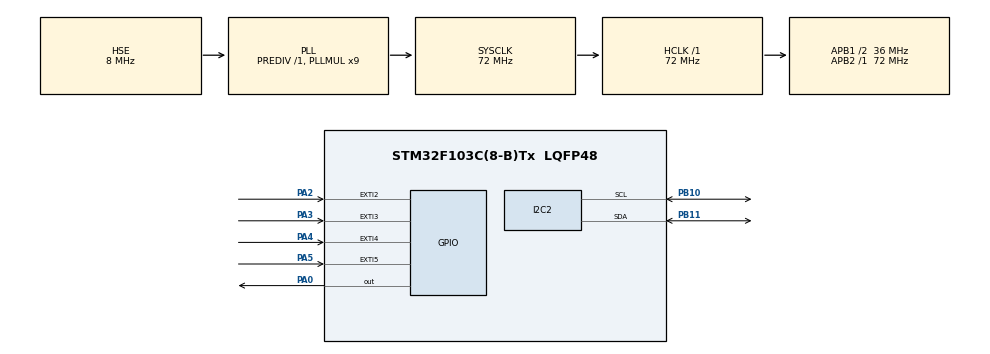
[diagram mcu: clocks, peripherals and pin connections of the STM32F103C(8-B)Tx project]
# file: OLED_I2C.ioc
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I2C2.I2C_Mode=I2C_Fast
Mcu.Family=STM32F1
Mcu.Name=STM32F103C(8-B)Tx
Mcu.Package=LQFP48
NVIC.EXTI2_IRQn=true\:2\:0\:true\:false\:true\:true\:true\:true
NVIC.EXTI3_IRQn=true\:2\:0\:true\:false\:true\:true\:true\:true
NVIC.EXTI4_IRQn=true\:2\:0\:true\:false\:true\:true\:true\:true
NVIC.EXTI9_5_IRQn=true\:2\:0\:true\:false\:true\:true\:true\:true
NVIC.PriorityGroup=NVIC_PRIORITYGROUP_4
NVIC.TIM3_IRQn=true\:3\:0\:true\:false\:true\:true\:true\:true
PA0-WKUP.GPIO_Speed=GPIO_SPEED_FREQ_LOW
PA0-WKUP.PinState=GPIO_PIN_SET
PA0-WKUP.Signal=GPIO_Output
PA13.Mode=Serial_Wire
PA13.Signal=SYS_JTMS-SWDIO
PA14.Mode=Serial_Wire
PA14.Signal=SYS_JTCK-SWCLK
PA2.GPIO_ModeDefaultEXTI=GPIO_MODE_IT_FALLING
PA2.GPIO_PuPd=GPIO_PULLUP
PA2.Signal=GPXTI2
PA3.GPIO_ModeDefaultEXTI=GPIO_MODE_IT_FALLING
PA3.GPIO_PuPd=GPIO_PULLUP
PA3.Signal=GPXTI3
PA4.GPIO_ModeDefaultEXTI=GPIO_MODE_IT_FALLING
PA4.GPIO_PuPd=GPIO_PULLUP
PA4.Signal=GPXTI4
PA5.GPIO_ModeDefaultEXTI=GPIO_MODE_IT_FALLING
PA5.GPIO_PuPd=GPIO_PULLUP
PA5.Signal=GPXTI5
PB10.Mode=I2C
PB10.Signal=I2C2_SCL
PB11.Mode=I2C
PB11.Signal=I2C2_SDA
PD0-OSC_IN.Mode=HSE-External-Oscillator
PD0-OSC_IN.Signal=RCC_OSC_IN
PD1-OSC_OUT.Mode=HSE-External-Oscillator
PD1-OSC_OUT.Signal=RCC_OSC_OUT
ProjectManager.HeapSize=0x200
ProjectManager.StackSize=0x400
ProjectManager.TargetToolchain=MDK-ARM V5.27
RCC.AHBFreq_Value=72000000
RCC.APB1CLKDivider=RCC_HCLK_DIV2
RCC.APB1Freq_Value=36000000
RCC.APB1TimFreq_Value=72000000
RCC.APB2Freq_Value=72000000
RCC.APB2TimFreq_Value=72000000
RCC.HCLKFreq_Value=72000000
RCC.PLLMUL=RCC_PLL_MUL9
RCC.PLLSourceVirtual=RCC_PLLSOURCE_HSE
RCC.SYSCLKFreq_VALUE=72000000
RCC.SYSCLKSource=RCC_SYSCLKSOURCE_PLLCLK
RCC.USBFreq_Value=72000000
TIM3.Period=2499
TIM3.Prescaler=7199
VP_TIM3_VS_ClockSourceINT.Mode=Internal
board=custom

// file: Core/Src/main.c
/* USER CODE BEGIN Header */
/**
  ******************************************************************************
  * @file           : main.c
  * @brief          : Main program body
  ******************************************************************************
  * @attention
  *
  * <h2><center>&copy; Copyright (c) 2022 STMicroelectronics.
  * All rights reserved.</center></h2>
  *
  * This software component is licensed by ST under BSD 3-Clause license,
  * the "License"; You may not use this file except in compliance with the
  * License. You may obtain a copy of the License at:
  *                        opensource.org/licenses/BSD-3-Clause
  *
  ******************************************************************************
  */
/* USER CODE END Header */
#include "main.h"
#include "i2c.h"
#include "tim.h"
#include "gpio.h"
#include "snake.h"
#include "ssd1306.h"

void SystemClock_Config(void);

/* USER CODE BEGIN 0 */
int timer_flag;
GameState game_state;
Snake snake;

void HAL_TIM_PeriodElapsedCallback(TIM_HandleTypeDef *htim){
	if(htim->Instance == TIM3){
		timer_flag = 1;
	}
}
void HAL_GPIO_EXTI_Callback(uint16_t GPIO_Pin){
	//len
				if((snake.direction != DOWN) && (GPIO_Pin = GPIO_PIN_1))
				{
						snake.direction = UP;
				}
	//xuong
				if((snake.direction != UP) && (GPIO_Pin = GPIO_PIN_1))
				{
						snake.direction = DOWN;
				}
	//trai
				if((snake.direction != RIGHT) && (GPIO_Pin = GPIO_PIN_1))
				{
						snake.direction = LEFT;
				}
	//phai
				if((snake.direction != LEFT) && (GPIO_Pin = GPIO_PIN_1))
				{
						snake.direction = RIGHT;
				}
}
/* USER CODE END 0 */

int main(void)
{

  /* MCU Configuration--------------------------------------------------------*/

  /* Reset of all peripherals, Initializes the Flash interface and the Systick. */
  HAL_Init();

  /* Configure the system clock */
  SystemClock_Config();

  /* Initialize all configured peripherals */
  MX_GPIO_Init();
  MX_I2C2_Init();
  MX_TIM3_Init();
  /* USER CODE BEGIN 2 */
	game_state = INGAME;
	ssd1306_I2C_Init();
	SSD1306_DrawFilledCircle(20, 20, 3, SSD1306_COLOR_WHITE);
	SSD1306_UpdateScreen();
  /* USER CODE END 2 */

  /* Infinite loop */
  while (1)
  {

    /* USER CODE BEGIN 3 */
		switch (game_state)
		{
			case INFORMATION:
				information();
				break;
			case INGAME:
					game_init();
					break;
			case SETTING:
					setting();
					break;
			case GAMEOVER:
					gameover();
					break;
			case MENU:
					menu();
					break;
    }
  }
  /* USER CODE END 3 */
}

void SystemClock_Config(void)
{
  RCC_OscInitTypeDef RCC_OscInitStruct = {0};
  RCC_ClkInitTypeDef RCC_ClkInitStruct = {0};

  /** Initializes the RCC Oscillators according to the specified parameters
  * in the RCC_OscInitTypeDef structure.
  */
  RCC_OscInitStruct.OscillatorType = RCC_OSCILLATORTYPE_HSE;
  RCC_OscInitStruct.HSEState = RCC_HSE_ON;
  RCC_OscInitStruct.HSEPredivValue = RCC_HSE_PREDIV_DIV1;
  RCC_OscInitStruct.HSIState = RCC_HSI_ON;
  RCC_OscInitStruct.PLL.PLLState = RCC_PLL_ON;
  RCC_OscInitStruct.PLL.PLLSource = RCC_PLLSOURCE_HSE;
  RCC_OscInitStruct.PLL.PLLMUL = RCC_PLL_MUL9;
  if (HAL_RCC_OscConfig(&RCC_OscInitStruct) != HAL_OK)
  {
    Error_Handler();
  }
  /** Initializes the CPU, AHB and APB buses clocks
  */
  RCC_ClkInitStruct.ClockType = RCC_CLOCKTYPE_HCLK|RCC_CLOCKTYPE_SYSCLK
                              |RCC_CLOCKTYPE_PCLK1|RCC_CLOCKTYPE_PCLK2;
  RCC_ClkInitStruct.SYSCLKSource = RCC_SYSCLKSOURCE_PLLCLK;
  RCC_ClkInitStruct.AHBCLKDivider = RCC_SYSCLK_DIV1;
  RCC_ClkInitStruct.APB1CLKDivider = RCC_HCLK_DIV2;
  RCC_ClkInitStruct.APB2CLKDivider = RCC_HCLK_DIV1;

  if (HAL_RCC_ClockConfig(&RCC_ClkInitStruct, FLASH_LATENCY_2) != HAL_OK)
  {
    Error_Handler();
  }
}

void Error_Handler(void)
{
}

/************************ (C) COPYRIGHT STMicroelectronics *****END OF FILE****/
